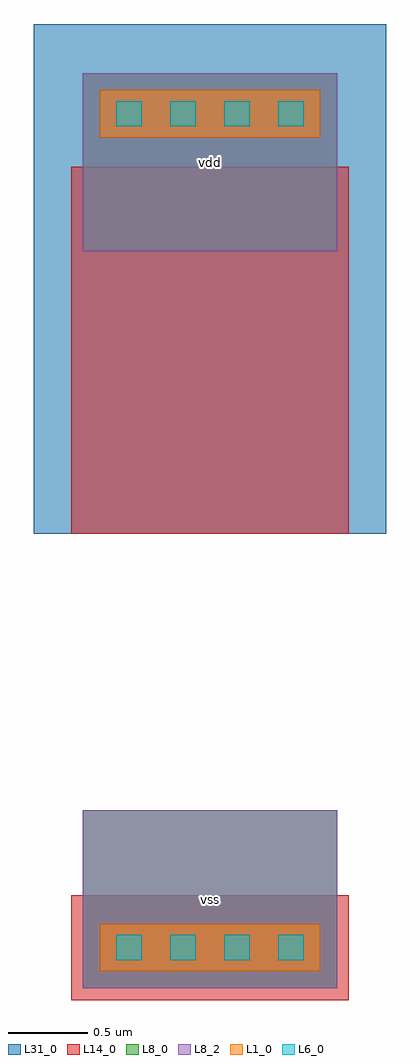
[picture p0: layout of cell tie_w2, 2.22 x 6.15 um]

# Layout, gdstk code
import gdstk
lib = gdstk.Library(unit=1e-6, precision=1e-09)
def R(c, l, rs):  # rectangles x0, y0, x1, y1
    for r in rs: c.add(gdstk.rectangle(r[:2], r[2:], *l))
def A(c, l, x, y, w, h, nx, ny, dx, dy):  # array of equal rectangles
    R(c, l, [(x+i*dx, y+j*dy, x+i*dx+w, y+j*dy+h) for i in range(nx) for j in range(ny)])
L1_0 = (1, 0)
L6_0 = (6, 0)
L8_0 = (8, 0)
L8_2 = (8, 2)
L14_0 = (14, 0)
L31_0 = (31, 0)

tie_w2 = lib.new_cell('tie_w2')
R(tie_w2, L1_0, [(0.105,0.105,1.495,0.405), (0.105,5.355,1.495,5.655)])
A(tie_w2, L6_0, 0.21, 0.175, 0.16, 0.16, 4, 2, 0.34, 5.25)
R(tie_w2, L8_0, [(0,0,1.6,1.12), (0,4.64,1.6,5.76)])
R(tie_w2, L8_2, [(0,0,1.6,1.12), (0,4.64,1.6,5.76)])
R(tie_w2, L14_0, [(-0.075,-0.075,1.675,0.585), (-0.075,2.86,1.675,5.17)])
R(tie_w2, L31_0, [(-0.31,2.86,1.91,6.07)])
tie_w2.add(gdstk.Label('vdd', (0.8,5.2), layer=8, texttype=2))
tie_w2.add(gdstk.Label('vss', (0.8,0.56), layer=8, texttype=2))

lib.write_gds('tie_w2.gds')
